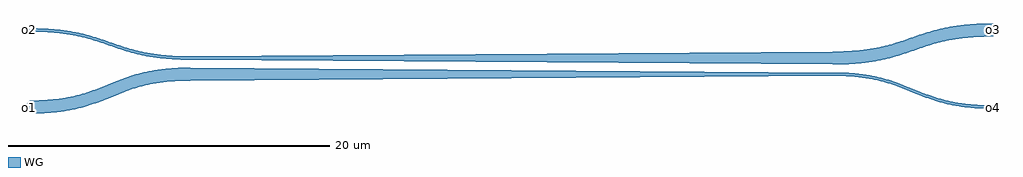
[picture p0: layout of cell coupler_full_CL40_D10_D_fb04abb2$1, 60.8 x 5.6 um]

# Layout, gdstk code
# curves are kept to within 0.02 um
import gdstk
lib = gdstk.Library(unit=1e-6, precision=1e-09)
def P(c, l, *ps):  # polygons
    for p in ps: c.add(gdstk.Polygon(p, *l))
WG = (1, 0)

coupler_full_cl40_d10_d_ = lib.new_cell('coupler_full_CL40_D10_D_fb04abb2$1')
P(coupler_full_cl40_d10_d_, WG, [(-50,-2.8),(-50.4,-2.4),(-50.1,-2.1),(-50.04,-2.1),(-50.344,-2.4),(-50.04,-2.4),(-50.04,-2.1),(-50.1,-2.1),(-50,-2)],
  [(-50,2.3),(-50.1,2.4),(-50.025,2.475),(-50.01,2.475),(-50.086,2.4),(-50.01,2.4),(-50.01,2.475),(-50.025,2.475),(-50,2.5)],
  [(-50,-2.8),(-50,-2),(-48.652,-1.942),(-47.968,-1.859),(-47.361,-1.746),(-46.232,-1.425),(-44.2,-0.63),(-43.114,-0.294),(-42.38,-0.138),(-41.675,-0.037),(-40.155,0.049),(0.87,-0.272),(2.108,-0.397),(3.322,-0.66),(4.179,-0.942),(6.133,-1.708),(7.297,-2.039),(8.034,-2.172),(8.624,-2.241),(10,-2.3),(10,-2.5),(9.848,-2.499),(8.606,-2.44),(7.459,-2.277),(6.864,-2.14),(6.152,-1.926),(4.109,-1.129),(3.085,-0.803),(1.966,-0.578),(0.584,-0.46),(-40.293,-0.752),(-41.101,-0.788),(-41.813,-0.86),(-43.009,-1.093),(-43.848,-1.353),(-46.055,-2.21),(-47.295,-2.55),(-48.578,-2.739)],
  [(10,-2.5),(10,-2.4),(10.01,-2.4),(10.01,-2.475),(10.086,-2.4),(10,-2.4),(10,-2.3),(10.1,-2.4)],
  [(0,0.25),(-40.869,0.569),(-41.993,0.661),(-43.226,0.878),(-44.093,1.114),(-46.129,1.794),(-47.294,2.077),(-48.5,2.239),(-50,2.3),(-50,2.5),(-48.607,2.449),(-47.359,2.292),(-46.241,2.035),(-43.953,1.281),(-42.901,1.011),(-42.296,0.904),(-41.5,0.811),(-40,0.75),(0.846,1.068),(2.04,1.171),(3.113,1.365),(3.945,1.592),(5.902,2.248),(7.1,2.549),(8.456,2.737),(10,2.8),(10,2),(8.408,1.93),(7.16,1.745),(6.055,1.458),(3.841,0.727),(2.588,0.444),(1.416,0.302)],
  [(10,2),(10,2.4),(10.04,2.4),(10.04,2.1),(10.344,2.4),(10,2.4),(10,2.8),(10.4,2.4)])
coupler_full_cl40_d10_d_.add(gdstk.Label('o1', (-50,-2.4), layer=1, texttype=0))
coupler_full_cl40_d10_d_.add(gdstk.Label('o2', (-50,2.4), layer=1, texttype=0))
coupler_full_cl40_d10_d_.add(gdstk.Label('o3', (10,2.4), layer=1, texttype=0))
coupler_full_cl40_d10_d_.add(gdstk.Label('o4', (10,-2.4), layer=1, texttype=0))

lib.write_gds('coupler_full_CL40_D10_D_fb04abb2_1.gds')
